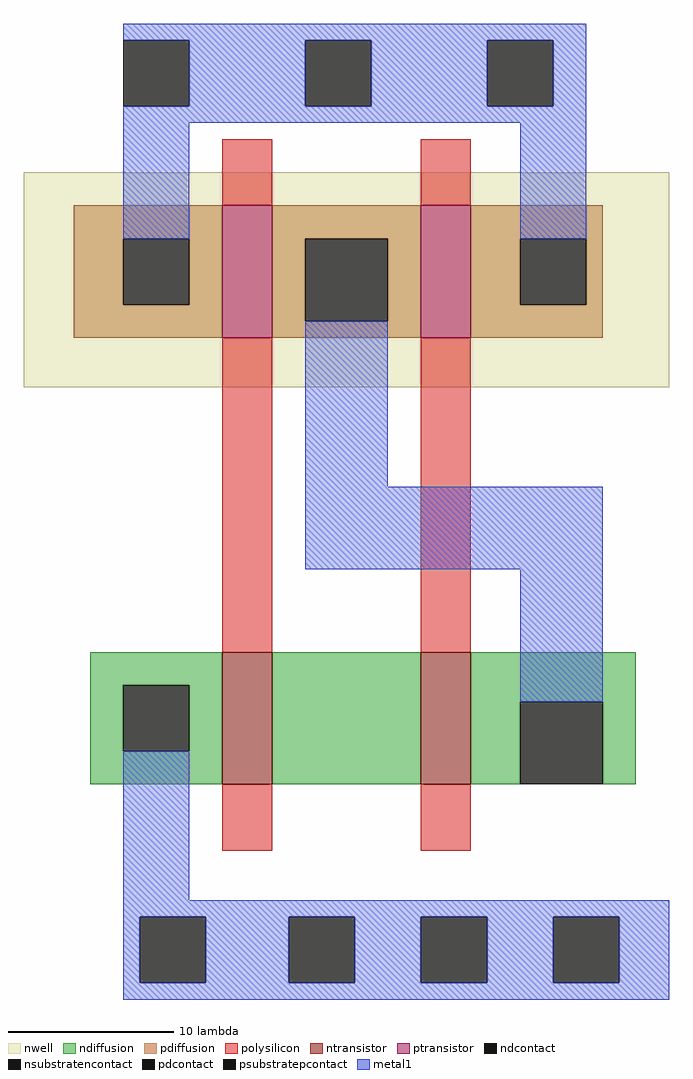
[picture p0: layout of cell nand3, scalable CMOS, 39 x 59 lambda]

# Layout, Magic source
magic
tech scmos
<< nwell >>
rect -3 -4 36 9
<< polysilicon >>
rect 9 7 12 11
rect 21 7 24 11
rect 9 -20 12 -1
rect 21 -20 24 -1
rect 9 -32 12 -28
rect 21 -32 24 -28
<< ndiffusion >>
rect 1 -22 9 -20
rect 1 -26 3 -22
rect 7 -26 9 -22
rect 1 -28 9 -26
rect 12 -28 21 -20
rect 24 -23 34 -20
rect 24 -28 27 -23
rect 32 -28 34 -23
<< pdiffusion >>
rect 0 5 9 7
rect 0 1 3 5
rect 7 1 9 5
rect 0 -1 9 1
rect 12 5 21 7
rect 12 0 14 5
rect 19 0 21 5
rect 12 -1 21 0
rect 24 5 32 7
rect 24 1 27 5
rect 31 1 32 5
rect 24 -1 32 1
<< metal1 >>
rect 3 17 31 18
rect 7 13 14 17
rect 18 13 25 17
rect 29 13 31 17
rect 3 12 31 13
rect 3 5 7 12
rect 27 5 31 12
rect 14 -10 19 0
rect 14 -15 32 -10
rect 3 -35 7 -26
rect 27 -23 32 -15
rect 3 -36 36 -35
rect 3 -40 4 -36
rect 8 -40 13 -36
rect 17 -40 21 -36
rect 25 -40 29 -36
rect 33 -40 36 -36
rect 3 -41 36 -40
<< ntransistor >>
rect 9 -28 12 -20
rect 21 -28 24 -20
<< ptransistor >>
rect 9 -1 12 7
rect 21 -1 24 7
<< ndcontact >>
rect 3 -26 7 -22
rect 27 -28 32 -23
<< pdcontact >>
rect 3 1 7 5
rect 14 0 19 5
rect 27 1 31 5
<< psubstratepcontact >>
rect 4 -40 8 -36
rect 13 -40 17 -36
rect 21 -40 25 -36
rect 29 -40 33 -36
<< nsubstratencontact >>
rect 3 13 7 17
rect 14 13 18 17
rect 25 13 29 17
<< end >>
